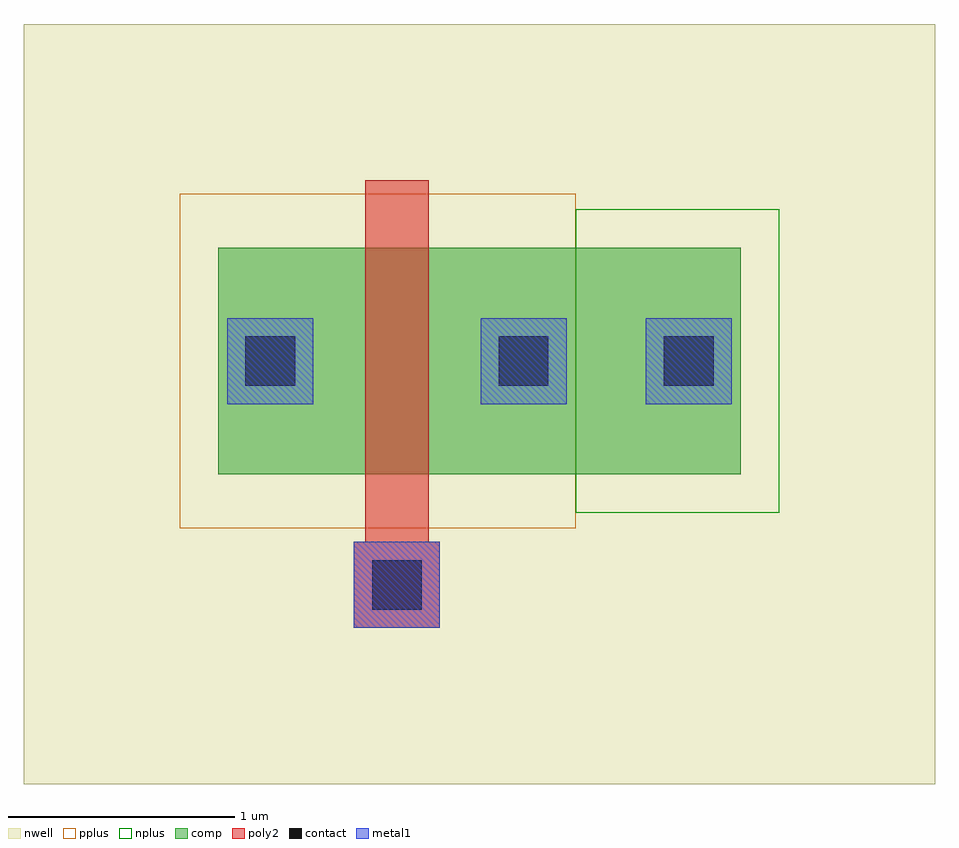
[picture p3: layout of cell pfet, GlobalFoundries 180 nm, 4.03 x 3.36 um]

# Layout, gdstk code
import gdstk
lib = gdstk.Library(unit=1e-6, precision=5e-09)
def R(c, l, rs):  # rectangles x0, y0, x1, y1
    for r in rs: c.add(gdstk.rectangle(r[:2], r[2:], *l))
def P(c, l, *ps):  # polygons
    for p in ps: c.add(gdstk.Polygon(p, *l))
nwell = (21, 0)
comp = (22, 0)
poly2 = (30, 0)
pplus = (31, 0)
nplus = (32, 0)
contact = (33, 0)
metal1 = (34, 0)

pfet = lib.new_cell('pfet')
R(pfet, nwell, [(-1.32,-1.37,2.71,1.99)])
R(pfet, comp, [(-0.46,0,1.85,1)])
P(pfet, poly2, [(0.14,-0.68),(0.14,-0.3),(0.19,-0.3),(0.19,1.3),(0.47,1.3),(0.47,-0.3),(0.52,-0.3),(0.52,-0.68)])
R(pfet, pplus, [(-0.63,-0.24,1.12,1.24)])
R(pfet, nplus, [(1.12,-0.17,2.02,1.17)])
R(pfet, contact, [(0.22,-0.6,0.44,-0.38), (-0.34,0.39,-0.12,0.61), (0.78,0.39,1,0.61), (1.51,0.39,1.73,0.61)])
R(pfet, metal1, [(0.14,-0.68,0.52,-0.3), (-0.42,0.31,-0.04,0.69), (0.7,0.31,1.08,0.69), (1.43,0.31,1.81,0.69)])

lib.write_gds('pfet.gds')
